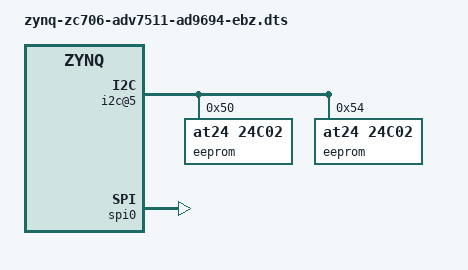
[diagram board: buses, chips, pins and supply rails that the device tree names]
/dts-v1/;

/include/ "zynq-zc706.dtsi"
/include/ "zynq-zc706-adv7511.dtsi"

&i2c_mux {
	i2c@5 { /* HPC IIC */
		#address-cells = <1>;
		#size-cells = <0>;
		reg = <5>;

		eeprom@50 {
			compatible = "at24,24c02";
			reg = <0x50>;
		};

		eeprom@54 {
			compatible = "at24,24c02";
			reg = <0x54>;
		};
	};
};


&fpga_axi {
	rx_dma: rx-dmac@7c400000 {
		compatible = "adi,axi-dmac-1.00.a";
		reg = <0x7c400000 0x10000>;
		#dma-cells = <1>;
		interrupts = <0 57 0>;
		clocks = <&clkc 16>;

		dma-channel {
			adi,source-bus-width = <64>;
			adi,destination-bus-width = <128>;
			adi,type = <0>;
		};
	};

	axi_ad9694_core: axi-ad9694-hpc@44a10000 {
		compatible = "adi,axi-ad9694-1.0";
		reg = <0x44a10000 0x10000>;
		dmas = <&rx_dma 0>;
		dma-names = "rx";
		spibus-connected = <&ad9694>;
	};

	axi_ad9694_rx_jesd: axi-jesd204-rx@44aa0000 {
		compatible = "adi,axi-jesd204-rx-1.0";
		reg = <0x44aa0000 0x1000>;

		interrupts = <0 55 0>;

		clocks = <&clkc 16>, <&axi_ad9694_adxcvr 1>, <&axi_ad9694_adxcvr 0>;
		clock-names = "s_axi_aclk", "device_clk", "lane_clk";

		adi,octets-per-frame = <1>;
		adi,frames-per-multiframe = <32>;
		adi,converter-resolution = <8>;
		adi,bits-per-sample = <8>;
		adi,converters-per-device = <2>;
		adi,subclass = <0>;

		#clock-cells = <0>;
		clock-output-names = "jesd_adc_lane_clk";
	};

	axi_ad9694_adxcvr: axi-ad9694-adxcvr@44a50000 {
		compatible = "adi,axi-adxcvr-1.0";
		reg = <0x44a50000 0x1000>;

		clocks = <&ad9528 12>;
		clock-names = "conv";

		#clock-cells = <1>;
		clock-output-names = "adc_gt_clk", "rx_out_clk";

		adi,sys-clk-select = <3>;
		adi,out-clk-select = <3>;
		adi,use-lpm-enable;
	};
};

&spi0 {
	status = "okay";
};

#define fmc_spi spi0

#include "adi-ad9694-ebz.dtsi"
